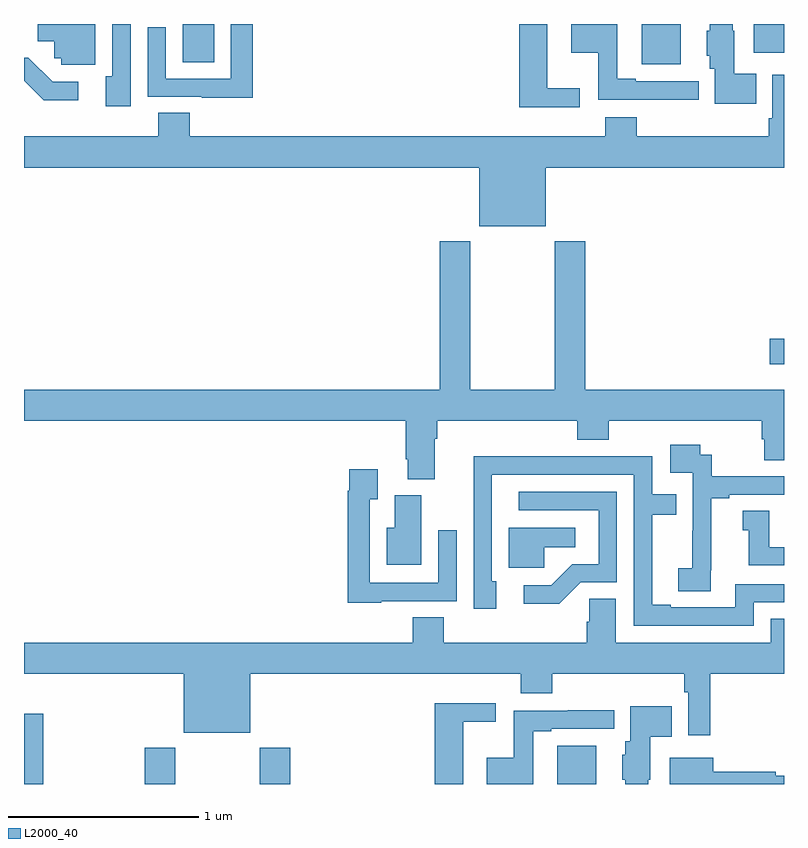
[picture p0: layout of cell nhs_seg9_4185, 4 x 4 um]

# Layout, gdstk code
import gdstk
lib = gdstk.Library(unit=1e-6, precision=1e-09)
def R(c, l, rs):  # rectangles x0, y0, x1, y1
    for r in rs: c.add(gdstk.rectangle(r[:2], r[2:], *l))
def P(c, l, *ps):  # polygons
    for p in ps: c.add(gdstk.Polygon(p, *l))
L2000_40 = (2000, 40)

nhs_seg9_4185 = lib.new_cell('nhs_seg9_4185')
R(nhs_seg9_4185, L2000_40, [(351,1202.5,351.101,1202.869), (351.635,1202.5,351.795,1202.692), (352.24,1202.5,352.4,1202.692), (353.807,1202.5,354.013,1202.701), (354.924,1204.709,355,1204.844), (354.251,1206.287,354.457,1206.5), (351.836,1206.298,352,1206.5), (354.842,1206.35,355,1206.5)])
P(nhs_seg9_4185, L2000_40, [(351.561,1206.5),(351.465,1206.5),(351.465,1206.226),(351.431,1206.226),(351.431,1206.066),(351.561,1206.066)],
  [(354.55,1206.198),(354.22,1206.198),(354.22,1206.211),(354.123,1206.211),(354.123,1206.5),(354.022,1206.5),(354.022,1206.498),(353.88,1206.498),(353.88,1206.35),(354.022,1206.35),(354.022,1206.102),(354.307,1206.102),(354.307,1206.101),(354.55,1206.101)],
  [(351.376,1206.5),(351.072,1206.5),(351.072,1206.41),(351.159,1206.41),(351.159,1206.321),(351.195,1206.321),(351.195,1206.285),(351.376,1206.285)],
  [(354.854,1206.238),(354.739,1206.238),(354.739,1206.465),(354.73,1206.465),(354.73,1206.5),(354.608,1206.5),(354.608,1206.465),(354.593,1206.465),(354.593,1206.333),(354.608,1206.333),(354.608,1206.264),(354.635,1206.264),(354.635,1206.08),(354.854,1206.08)],
  [(352.205,1206.5),(352.089,1206.5),(352.089,1206.213),(351.747,1206.213),(351.747,1206.484),(351.651,1206.484),(351.651,1206.117),(351.935,1206.117),(351.935,1206.113),(352.205,1206.113)],
  [(353.926,1206.161),(353.755,1206.161),(353.755,1206.5),(353.606,1206.5),(353.606,1206.062),(353.926,1206.062)],
  [(351.286,1206.195),(351.15,1206.195),(351.023,1206.322),(351,1206.322),(351,1206.201),(351.104,1206.098),(351.286,1206.098)],
  [(353.746,1205.744),(355,1205.744),(355,1206.232),(354.939,1206.232),(354.939,1206.004),(354.919,1206.004),(354.919,1205.908),(354.224,1205.908),(354.224,1206.01),(354.059,1206.01),(354.059,1205.908),(351.872,1205.908),(351.872,1206.032),(351.707,1206.032),(351.707,1205.908),(351,1205.908),(351,1205.744),(353.396,1205.744),(353.396,1205.435),(353.746,1205.435)],
  [(353.161,1204.316),(353.174,1204.316),(353.174,1204.412),(353.912,1204.412),(353.912,1204.313),(354.077,1204.313),(354.077,1204.412),(354.884,1204.412),(354.884,1204.314),(354.896,1204.314),(354.896,1204.204),(355,1204.204),(355,1204.576),(353.954,1204.576),(353.954,1205.356),(353.794,1205.356),(353.794,1204.576),(353.349,1204.576),(353.349,1205.356),(353.189,1205.356),(353.189,1204.576),(351,1204.576),(351,1204.412),(353.009,1204.412),(353.009,1204.21),(353.021,1204.21),(353.021,1204.105),(353.161,1204.105)],
  [(354.614,1203.625),(354.616,1203.625),(354.616,1204.003),(354.712,1204.003),(354.712,1204.023),(355,1204.023),(355,1204.119),(354.62,1204.119),(354.62,1204.233),(354.558,1204.233),(354.558,1204.285),(354.402,1204.285),(354.402,1204.137),(354.519,1204.137),(354.519,1203.833),(354.518,1203.833),(354.518,1203.636),(354.444,1203.636),(354.444,1203.514),(354.614,1203.514)],
  [(354.84,1203.456),(355,1203.456),(355,1203.552),(354.744,1203.552),(354.744,1203.429),(354.403,1203.429),(354.403,1203.444),(354.307,1203.444),(354.307,1203.918),(354.434,1203.918),(354.434,1204.026),(354.306,1204.026),(354.306,1204.224),(353.828,1204.224),(353.828,1204.226),(353.366,1204.226),(353.366,1203.922),(353.367,1203.922),(353.367,1203.423),(353.485,1203.423),(353.485,1203.567),(353.463,1203.567),(353.463,1204.128),(354.21,1204.128),(354.21,1203.333),(354.84,1203.333)],
  [(352.881,1203.462),(353.277,1203.462),(353.277,1203.835),(353.181,1203.835),(353.181,1203.558),(352.821,1203.558),(352.821,1204),(352.861,1204),(352.861,1204.156),(352.713,1204.156),(352.713,1204.043),(352.705,1204.043),(352.705,1203.455),(352.881,1203.455)],
  [(353.931,1203.561),(354.12,1203.561),(354.12,1204.038),(353.604,1204.038),(353.604,1203.942),(354.024,1203.942),(354.024,1203.657),(353.886,1203.657),(353.775,1203.546),(353.631,1203.546),(353.631,1203.449),(353.818,1203.449)],
  [(353.092,1204.02),(352.952,1204.02),(352.952,1203.85),(352.91,1203.85),(352.91,1203.653),(353.092,1203.653)],
  [(355,1203.747),(354.922,1203.747),(354.922,1203.938),(354.782,1203.938),(354.782,1203.835),(354.815,1203.835),(354.815,1203.651),(355,1203.651)],
  [(353.739,1203.746),(353.902,1203.746),(353.902,1203.85),(353.552,1203.85),(353.552,1203.639),(353.739,1203.639)],
  [(354.611,1203.08),(355,1203.08),(355,1203.371),(354.929,1203.371),(354.929,1203.244),(354.115,1203.244),(354.115,1203.476),(353.976,1203.476),(353.976,1203.353),(353.963,1203.353),(353.963,1203.244),(353.21,1203.244),(353.21,1203.377),(353.045,1203.377),(353.045,1203.244),(351,1203.244),(351,1203.08),(351.842,1203.08),(351.842,1202.771),(352.192,1202.771),(352.192,1203.08),(353.615,1203.08),(353.615,1202.978),(353.78,1202.978),(353.78,1203.08),(354.475,1203.08),(354.475,1202.984),(354.495,1202.984),(354.495,1202.757),(354.611,1202.757)],
  [(353.311,1202.828),(353.482,1202.828),(353.482,1202.926),(353.162,1202.926),(353.162,1202.5),(353.311,1202.5)],
  [(354.286,1202.523),(354.295,1202.523),(354.295,1202.75),(354.41,1202.75),(354.41,1202.908),(354.191,1202.908),(354.191,1202.724),(354.164,1202.724),(354.164,1202.655),(354.149,1202.655),(354.149,1202.523),(354.164,1202.523),(354.164,1202.5),(354.286,1202.5)],
  [(353.679,1202.778),(353.776,1202.778),(353.776,1202.79),(354.106,1202.79),(354.106,1202.888),(353.863,1202.888),(353.863,1202.886),(353.578,1202.886),(353.578,1202.638),(353.436,1202.638),(353.436,1202.5),(353.679,1202.5)],
  [(355,1202.544),(354.956,1202.544),(354.956,1202.564),(354.628,1202.564),(354.628,1202.638),(354.398,1202.638),(354.398,1202.5),(355,1202.5)])

lib.write_gds('nhs_seg9_4185.gds')
